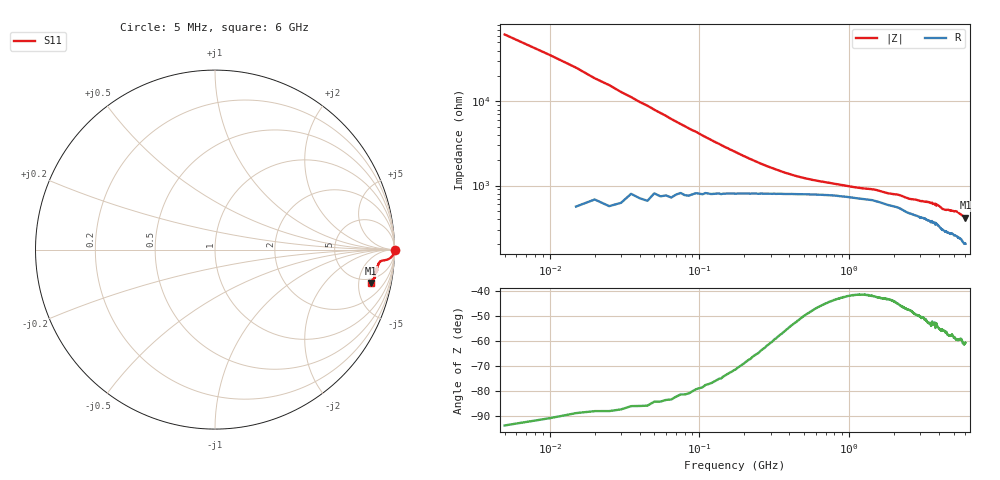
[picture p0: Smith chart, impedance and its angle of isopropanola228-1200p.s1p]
# Hz S RI R 50.000000
! Metas.Vna.Tools, 3.0.9519.15400
! Metas.Vna.Data, 3.0.9519.15360
! Created: UTC 2026.10.23 21:43:09
! FREQ  re:S1,1  im:S1,1
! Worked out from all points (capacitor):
!   1200 points, 5 MHz to 6 GHz, reference 50 ohm
!   read as one part to ground: C = 400 fF near 35 MHz
!   lowest |Z| = 416 ohm at 6 GHz (marker M1)
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5000000  1 -0.00161
7.5e7  0.997 -0.0183
1.7e8  0.9871 -0.0366
2.3e8  0.9788 -0.0449
3e8  0.9692 -0.0517
3.9e8  0.9581 -0.0566
5.05e8  0.947 -0.0592
7.55e8  0.9334 -0.061
1.11e9  0.9223 -0.0647
1.505e9  0.9179 -0.0699
1.85e9  0.9108 -0.078
2.255e9  0.9085 -0.0874
2.55e9  0.9028 -0.0968
3.005e9  0.9012 -0.1064
3.555e9  0.9026 -0.1175
3.62e9  0.8977 -0.1189
3.755e9  0.8963 -0.1227
3.82e9  0.8974 -0.1206
4.005e9  0.8962 -0.1293
4.18e9  0.8897 -0.1385
4.36e9  0.8868 -0.1434
4.505e9  0.888 -0.1456
4.61e9  0.8899 -0.1471
4.875e9  0.8867 -0.1503
5.255e9  0.8892 -0.1575
5.625e9  0.8778 -0.1693
5.85e9  0.8775 -0.18
6e9  0.8707 -0.1854
